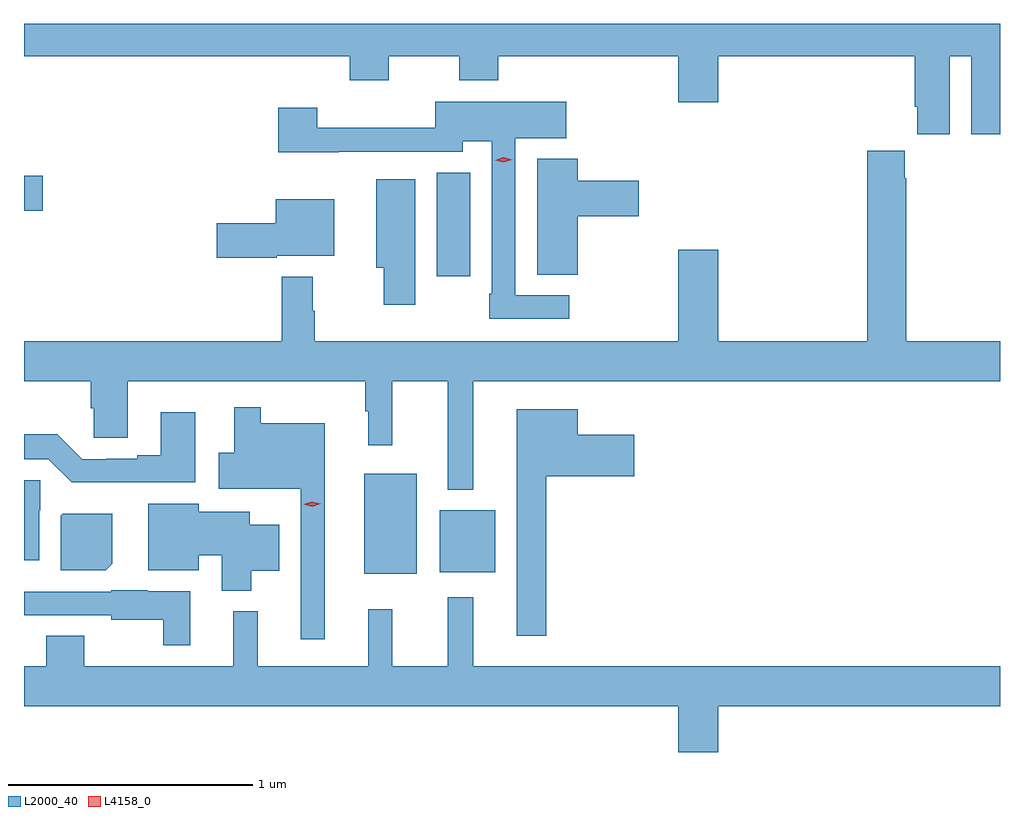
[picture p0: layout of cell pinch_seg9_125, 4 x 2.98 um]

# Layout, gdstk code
import gdstk
lib = gdstk.Library(unit=1e-6, precision=1e-09)
def R(c, l, rs):  # rectangles x0, y0, x1, y1
    for r in rs: c.add(gdstk.rectangle(r[:2], r[2:], *l))
def P(c, l, *ps):  # polygons
    for p in ps: c.add(gdstk.Polygon(p, *l))
L2000_40 = (2000, 40)
L4158_0 = (4158, 0)

pinch_seg9_125 = lib.new_cell('pinch_seg9_125')
R(pinch_seg9_125, L2000_40, [(811.073,1246.247,811.288,1246.657), (811.382,1246.253,811.609,1246.507), (811.37,1247.466,811.507,1247.891), (809.678,1247.735,809.755,1247.877)])
P(pinch_seg9_125, L2000_40, [(813.472,1248.368),(813.56,1248.368),(813.56,1248.048),(813.678,1248.048),(813.678,1248.5),(809.678,1248.5),(809.678,1248.368),(811.013,1248.368),(811.013,1248.269),(811.173,1248.269),(811.173,1248.368),(811.462,1248.368),(811.462,1248.269),(811.622,1248.269),(811.622,1248.368),(812.36,1248.368),(812.36,1248.18),(812.524,1248.18),(812.524,1248.368),(813.329,1248.368),(813.329,1248.16),(813.338,1248.16),(813.338,1248.048),(813.472,1248.048)],
  [(811.912,1247.388),(811.692,1247.388),(811.692,1248.032),(811.9,1248.032),(811.9,1248.181),(811.364,1248.181),(811.364,1248.074),(810.879,1248.074),(810.879,1248.157),(810.719,1248.157),(810.719,1247.975),(810.967,1247.975),(810.967,1247.976),(811.477,1247.976),(811.477,1248.02),(811.596,1248.02),(811.596,1247.395),(811.584,1247.395),(811.584,1247.292),(811.912,1247.292)],
  [(811.519,1247.036),(813.678,1247.036),(813.678,1247.2),(813.294,1247.2),(813.294,1247.867),(813.287,1247.867),(813.287,1247.98),(813.134,1247.98),(813.134,1247.2),(812.524,1247.2),(812.524,1247.575),(812.36,1247.575),(812.36,1247.2),(810.869,1247.2),(810.869,1247.324),(810.862,1247.324),(810.862,1247.464),(810.734,1247.464),(810.734,1247.2),(809.678,1247.2),(809.678,1247.036),(809.951,1247.036),(809.951,1246.926),(809.964,1246.926),(809.964,1246.804),(810.103,1246.804),(810.103,1247.036),(811.077,1247.036),(811.077,1246.913),(811.088,1246.913),(811.088,1246.773),(811.188,1246.773),(811.188,1247.036),(811.415,1247.036),(811.415,1246.592),(811.519,1246.592)],
  [(811.948,1247.711),(812.197,1247.711),(812.197,1247.858),(811.948,1247.858),(811.948,1247.947),(811.781,1247.947),(811.781,1247.473),(811.948,1247.473)],
  [(811.282,1247.863),(811.121,1247.863),(811.121,1247.501),(811.153,1247.501),(811.153,1247.349),(811.282,1247.349)],
  [(810.714,1247.549),(810.949,1247.549),(810.949,1247.782),(810.71,1247.782),(810.71,1247.684),(810.468,1247.684),(810.468,1247.542),(810.714,1247.542)],
  [(810.91,1246.864),(810.649,1246.864),(810.649,1246.93),(810.539,1246.93),(810.539,1246.743),(810.476,1246.743),(810.476,1246.595),(810.813,1246.595),(810.813,1245.978),(810.91,1245.978)],
  [(811.819,1246.646),(812.179,1246.646),(812.179,1246.816),(811.948,1246.816),(811.948,1246.921),(811.697,1246.921),(811.697,1245.993),(811.819,1245.993)],
  [(810.379,1246.909),(810.239,1246.909),(810.239,1246.732),(810.143,1246.732),(810.143,1246.719),(810.016,1246.719),(810.016,1246.716),(809.916,1246.716),(809.814,1246.819),(809.679,1246.819),(809.679,1246.716),(809.778,1246.716),(809.873,1246.622),(810.379,1246.622)],
  [(809.74,1246.506),(809.744,1246.506),(809.744,1246.629),(809.678,1246.629),(809.678,1246.302),(809.74,1246.302)],
  [(810.61,1246.259),(810.724,1246.259),(810.724,1246.447),(810.604,1246.447),(810.604,1246.501),(810.394,1246.501),(810.394,1246.534),(810.188,1246.534),(810.188,1246.262),(810.394,1246.262),(810.394,1246.322),(810.488,1246.322),(810.488,1246.178),(810.61,1246.178)],
  [(810.04,1246.288),(810.04,1246.492),(809.836,1246.492),(809.828,1246.484),(809.828,1246.262),(810.014,1246.262)],
  [(810.359,1246.174),(810.186,1246.174),(810.186,1246.18),(810.036,1246.18),(810.036,1246.173),(809.678,1246.173),(809.678,1246.077),(810.036,1246.077),(810.036,1246.058),(810.249,1246.058),(810.249,1245.953),(810.359,1245.953)],
  [(812.524,1245.704),(813.678,1245.704),(813.678,1245.868),(811.519,1245.868),(811.519,1246.15),(811.415,1246.15),(811.415,1245.868),(811.188,1245.868),(811.188,1246.102),(811.088,1246.102),(811.088,1245.868),(810.635,1245.868),(810.635,1246.093),(810.536,1246.093),(810.536,1245.868),(809.925,1245.868),(809.925,1245.992),(809.77,1245.992),(809.77,1245.868),(809.678,1245.868),(809.678,1245.704),(812.36,1245.704),(812.36,1245.516),(812.524,1245.516)])
P(pinch_seg9_125, L4158_0, [(811.643,1247.933),(811.609,1247.942),(811.608,1247.942),(811.609,1247.942),(811.643,1247.953),(811.678,1247.944),(811.678,1247.943),(811.678,1247.943)],
  [(810.859,1246.522),(810.824,1246.531),(810.823,1246.531),(810.824,1246.531),(810.858,1246.542),(810.894,1246.534),(810.894,1246.533),(810.894,1246.533)])

lib.write_gds('pinch_seg9_125.gds')
